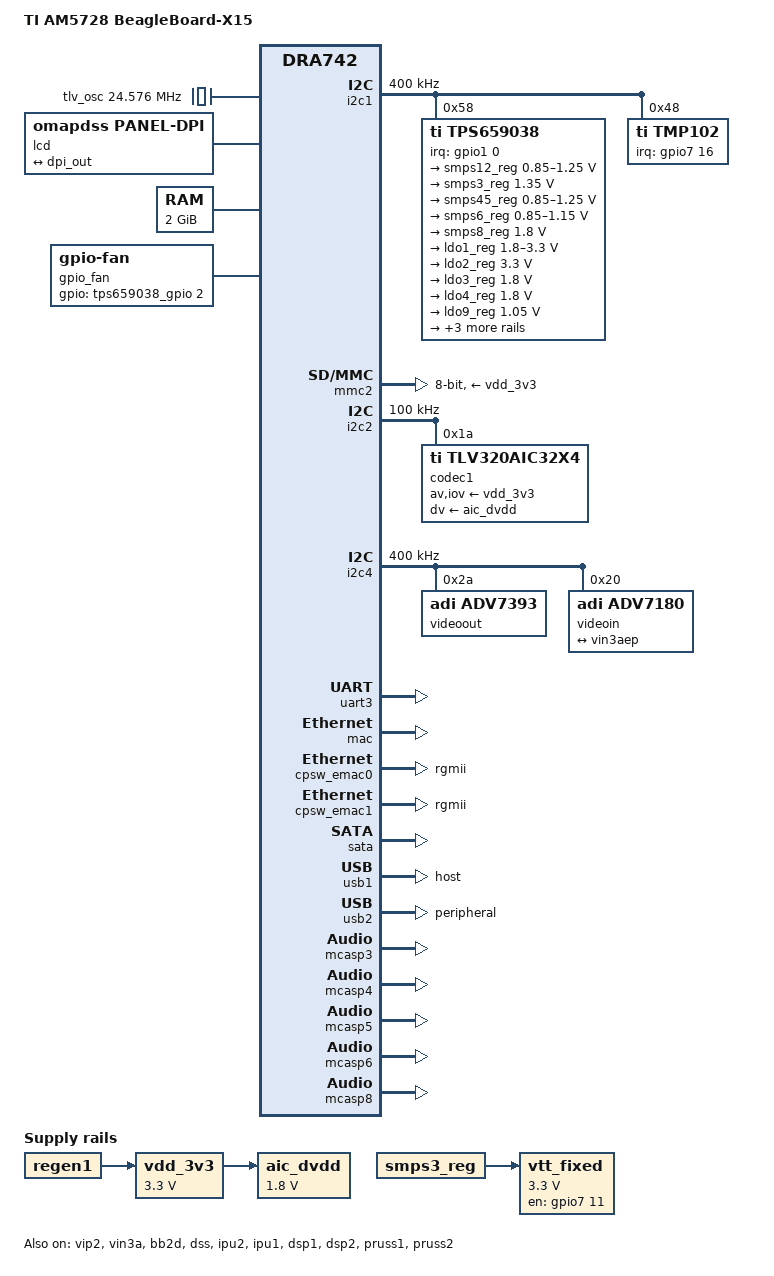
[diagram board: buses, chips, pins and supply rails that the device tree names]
/*
 * Copyright (C) 2014 Texas Instruments Incorporated - http://www.ti.com/
 *
 * This program is free software; you can redistribute it and/or modify
 * it under the terms of the GNU General Public License version 2 as
 * published by the Free Software Foundation.
 */
/dts-v1/;

#include "dra74x.dtsi"
#include <dt-bindings/gpio/gpio.h>
#include <dt-bindings/interrupt-controller/irq.h>

/ {
	model = "TI AM5728 BeagleBoard-X15";
	compatible = "ti,am572x-beagle-x15", "ti,am5728", "ti,dra742", "ti,dra74", "ti,dra7";

	aliases {
		rtc0 = &tps659038_rtc;
		rtc1 = &rtc;
		display0 = &lcd;
	};

	tlv_osc: tlv_osc {
		#clock-cells = <0>;
		compatible = "fixed-clock";
		clock-frequency = <24576000>;
	};

 	lcd: display {

                compatible = "omapdss,panel-dpi";

                label = "lcd";

                panel-timing {

                        clock-frequency = <27000000>; 
                        hactive = <720>;
                        vactive = <576>;
			
			/* When in BT mode and interlaced, this field corresponds */
			/* to the vertical field blanking No 1 for Even Field.	  */
                        hfront-porch = <4>;
			/* When in BT mode and interlaced, this field corresponds */
			/* to the vertical field blanking No 2 for Even Field.;   */
                        hback-porch = <20>;

                        hsync-len = <256>;

                        vfront-porch = <4>;
                        vback-porch = <21>;

                        vsync-len = <10>;

                        pixelclk-active = <0>;
			
			interlaced = "true";
                };

                 port {
                        lcd_in: endpoint {
                                remote-endpoint = <&dpi_out>;
                        };
                };

        };

	memory {
		device_type = "memory";
		reg = <0x0 0x80000000 0x0 0x80000000>;
	};

	reserved-memory {
		#address-cells = <2>;
		#size-cells = <2>;
		ranges;

		ipu2_cma_pool: ipu2_cma@95800000 {
			compatible = "shared-dma-pool";
			reg = <0x0 0x95800000 0x0 0x3800000>;
			reusable;
			status = "okay";
		};

		dsp1_cma_pool: dsp1_cma@99000000 {
			compatible = "shared-dma-pool";
			reg = <0x0 0x99000000 0x0 0x4000000>;
			reusable;
			status = "okay";
		};

		ipu1_cma_pool: ipu1_cma@9d000000 {
			compatible = "shared-dma-pool";
			reg = <0x0 0x9d000000 0x0 0x2000000>;
			reusable;
			status = "okay";
		};

		dsp2_cma_pool: dsp2_cma@9f000000 {
			compatible = "shared-dma-pool";
			reg = <0x0 0x9f000000 0x0 0x800000>;
			reusable;
			status = "okay";
		};
	};

	vdd_3v3: fixedregulator-vdd_3v3 {
		compatible = "regulator-fixed";
		regulator-name = "vdd_3v3";
		vin-supply = <&regen1>;
		regulator-min-microvolt = <3300000>;
		regulator-max-microvolt = <3300000>;
	};

	aic_dvdd: fixedregulator-aic_dvdd {
		compatible = "regulator-fixed";
		regulator-name = "aic_dvdd_fixed";
		vin-supply = <&vdd_3v3>;
		regulator-min-microvolt = <1800000>;
		regulator-max-microvolt = <1800000>;
	};

	vtt_fixed: fixedregulator-vtt {
		/* TPS51200 */
		compatible = "regulator-fixed";
		regulator-name = "vtt_fixed";
		vin-supply = <&smps3_reg>;
		regulator-min-microvolt = <3300000>;
		regulator-max-microvolt = <3300000>;
		regulator-always-on;
		regulator-boot-on;
		enable-active-high;
		gpio = <&gpio7 11 GPIO_ACTIVE_HIGH>;
	};

	gpio_fan: gpio_fan {
		/* Based on 5v 500mA AFB02505HHB */
		compatible = "gpio-fan";
		gpios =  <&tps659038_gpio 2 GPIO_ACTIVE_HIGH>;
		gpio-fan,speed-map = <0     0>,
				     <13000 1>;
		#cooling-cells = <2>;
	};

	/* Left microphone input */
	/*left_mic: sound@0 {
		compatible = "simple-audio-card";
		simple-audio-card,name = "BeagleBoard-X15";
		simple-audio-card,widgets =
			"Line", "Line In";
		simple-audio-card,routing =
			"IN1_L",	"Line In",
			"IN1_R",	"Line In";
		simple-audio-card,format = "i2s";
		simple-audio-card,bitclock-master = <&sound0_codec>;
		simple-audio-card,frame-master = <&sound0_codec>;

		sound0_cpu: simple-audio-card,cpu {
			sound-dai = <&mcasp4>;
			system-clock-direction = "out";
		};

		sound0_codec: simple-audio-card,codec {
			sound-dai = <&tlv320aic32x4>;
		};
	};*/

};

&i2c1 {
	status = "okay";
	clock-frequency = <400000>;

	tps659038: tps659038@58 {
		compatible = "ti,tps659038";
		reg = <0x58>;
		interrupt-parent = <&gpio1>;
		interrupts = <0 IRQ_TYPE_LEVEL_LOW>;

		#interrupt-cells = <2>;
		interrupt-controller;

		ti,system-power-controller;
		ti,palmas-override-powerhold;

		tps659038_pmic {
			compatible = "ti,tps659038-pmic";

			regulators {
				smps12_reg: smps12 {
					/* VDD_MPU */
					regulator-name = "smps12";
					regulator-min-microvolt = < 850000>;
					regulator-max-microvolt = <1250000>;
					regulator-always-on;
					regulator-boot-on;
				};

				smps3_reg: smps3 {
					/* VDD_DDR */
					regulator-name = "smps3";
					regulator-min-microvolt = <1350000>;
					regulator-max-microvolt = <1350000>;
					regulator-always-on;
					regulator-boot-on;
				};

				smps45_reg: smps45 {
					/* VDD_DSPEVE, VDD_IVA, VDD_GPU */
					regulator-name = "smps45";
					regulator-min-microvolt = < 850000>;
					regulator-max-microvolt = <1250000>;
					regulator-always-on;
					regulator-boot-on;
				};

				smps6_reg: smps6 {
					/* VDD_CORE */
					regulator-name = "smps6";
					regulator-min-microvolt = <850000>;
					regulator-max-microvolt = <1150000>;
					regulator-always-on;
					regulator-boot-on;
				};

				/* SMPS7 unused */

				smps8_reg: smps8 {
					/* VDD_1V8 */
					regulator-name = "smps8";
					regulator-min-microvolt = <1800000>;
					regulator-max-microvolt = <1800000>;
					regulator-always-on;
					regulator-boot-on;
				};

				/* SMPS9 unused */

				ldo1_reg: ldo1 {
					/* VDD_SD / VDDSHV8  */
					regulator-name = "ldo1";
					regulator-min-microvolt = <1800000>;
					regulator-max-microvolt = <3300000>;
					regulator-boot-on;
					regulator-always-on;
				};

				ldo2_reg: ldo2 {
					/* VDD_SHV5 */
					regulator-name = "ldo2";
					regulator-min-microvolt = <3300000>;
					regulator-max-microvolt = <3300000>;
					regulator-always-on;
					regulator-boot-on;
				};

				ldo3_reg: ldo3 {
					/* VDDA_1V8_PHYA */
					regulator-name = "ldo3";
					regulator-min-microvolt = <1800000>;
					regulator-max-microvolt = <1800000>;
					regulator-always-on;
					regulator-boot-on;
				};

				ldo4_reg: ldo4 {
					/* VDDA_1V8_PHYB */
					regulator-name = "ldo4";
					regulator-min-microvolt = <1800000>;
					regulator-max-microvolt = <1800000>;
					regulator-always-on;
					regulator-boot-on;
				};

				ldo9_reg: ldo9 {
					/* VDD_RTC */
					regulator-name = "ldo9";
					regulator-min-microvolt = <1050000>;
					regulator-max-microvolt = <1050000>;
					regulator-always-on;
					regulator-boot-on;
				};

				ldoln_reg: ldoln {
					/* VDDA_1V8_PLL */
					regulator-name = "ldoln";
					regulator-min-microvolt = <1800000>;
					regulator-max-microvolt = <1800000>;
					regulator-always-on;
					regulator-boot-on;
				};

				ldousb_reg: ldousb {
					/* VDDA_3V_USB: VDDA_USBHS33 */
					regulator-name = "ldousb";
					regulator-min-microvolt = <3300000>;
					regulator-max-microvolt = <3300000>;
					regulator-boot-on;
				};

				regen1: regen1 {
					/* VDD_3V3_ON */
					regulator-name = "regen1";
					regulator-boot-on;
					regulator-always-on;
				};
			};
		};

		tps659038_rtc: tps659038_rtc {
			compatible = "ti,palmas-rtc";
			interrupt-parent = <&tps659038>;
			interrupts = <8 IRQ_TYPE_EDGE_FALLING>;
			wakeup-source;
		};

		tps659038_pwr_button: tps659038_pwr_button {
			compatible = "ti,palmas-pwrbutton";
			interrupt-parent = <&tps659038>;
			interrupts = <1 IRQ_TYPE_EDGE_FALLING>;
			wakeup-source;
			ti,palmas-long-press-seconds = <12>;
		};

		tps659038_gpio: tps659038_gpio {
			compatible = "ti,palmas-gpio";
			gpio-controller;
			#gpio-cells = <2>;
		};

		extcon_usb2: tps659038_usb {
			compatible = "ti,palmas-usb-vid";
			ti,enable-vbus-detection;
			vbus-gpio = <&gpio4 21 GPIO_ACTIVE_HIGH>;
		};

	};

	tmp102: tmp102@48 {
		compatible = "ti,tmp102";
		reg = <0x48>;
		interrupt-parent = <&gpio7>;
		interrupts = <16 IRQ_TYPE_LEVEL_LOW>;
		#thermal-sensor-cells = <1>;
	};
};

&dra7_pmx_core {
    i2c4_pins_default: i2c4_pins_default {
		pinctrl-single,pins = <
            0x370 (PIN_INPUT_PULLUP | MUX_MODE4) /* mmc1_sdwp SCL*/
            0x36c (PIN_INPUT_PULLUP | MUX_MODE4) /* mmc1_sdcd SDA*/
            0x2ac (MUX_MODE15) /* B14*/
            0x2b0 (MUX_MODE15) /* J14*/
		>;
	};

	mmc2_pins_default: mmc2_pins_default {
		pinctrl-single,pins = <
			DRA7XX_CORE_IOPAD(0x349c, (PIN_INPUT_PULLUP | MUX_MODE1)) /* gpmc_a23.mmc2_clk */
			DRA7XX_CORE_IOPAD(0x34b0, (PIN_INPUT_PULLUP | MUX_MODE1)) /* gpmc_cs1.mmc2_cmd */
			DRA7XX_CORE_IOPAD(0x34a0, (PIN_INPUT_PULLUP | MUX_MODE1)) /* gpmc_a24.mmc2_dat0 */
			DRA7XX_CORE_IOPAD(0x34a4, (PIN_INPUT_PULLUP | MUX_MODE1)) /* gpmc_a25.mmc2_dat1 */
			DRA7XX_CORE_IOPAD(0x34a8, (PIN_INPUT_PULLUP | MUX_MODE1)) /* gpmc_a26.mmc2_dat2 */
			DRA7XX_CORE_IOPAD(0x34ac, (PIN_INPUT_PULLUP | MUX_MODE1)) /* gpmc_a27.mmc2_dat3 */
			DRA7XX_CORE_IOPAD(0x348c, (PIN_INPUT_PULLUP | MUX_MODE1)) /* gpmc_a19.mmc2_dat4 */
			DRA7XX_CORE_IOPAD(0x3490, (PIN_INPUT_PULLUP | MUX_MODE1)) /* gpmc_a20.mmc2_dat5 */
			DRA7XX_CORE_IOPAD(0x3494, (PIN_INPUT_PULLUP | MUX_MODE1)) /* gpmc_a21.mmc2_dat6 */
			DRA7XX_CORE_IOPAD(0x3498, (PIN_INPUT_PULLUP | MUX_MODE1)) /* gpmc_a22.mmc2_dat7 */
		>;
	};
};

&mmc2 {
	pinctrl-names = "default";
	pinctrl-0 = <&mmc2_pins_default>;
};

&i2c2 {
    	status = "okay";
	clock-frequency = <100000>;
	pinctrl-names = "default";
	pinctrl-0 = <&i2c2_pins_default>;

	/*codec0: tlv320aic32x4@18 {
		#sound-dai-cells = <0>;
		compatible = "ti,tlv320aic32x4";
		reg = <0x18>;
		//clocks = <&sys_clkin2>;
		clocks = <&tlv_osc>;
		clock-names = "mclk";		
		av-supply = <&vdd_3v3>;
		iov-supply = <&vdd_3v3>;
		dv-supply = <&aic_dvdd>;

		assigned-clocks = <&clkoutmux2_clk_mux>, <&timer7_gfclk_mux>, <&clkoutmux0_clk_mux>;
		assigned-clock-parents = <&sys_clk2_dclk_div>, <&clkoutmux0_clk_mux>, <&sys_clk1_dclk_div>;

		status = "okay";
	};*/

	codec1: tlv320aic32x4@1a {
		#sound-dai-cells = <0>;
		compatible = "ti,tlv320aic32x4";
		reg = <0x1a>;
		//clocks = <&sys_clkin2>;
		clocks = <&tlv_osc>;
		clock-names = "mclk";		
		av-supply = <&vdd_3v3>;
		iov-supply = <&vdd_3v3>;
		dv-supply = <&aic_dvdd>;

		assigned-clocks = <&clkoutmux2_clk_mux>, <&timer7_gfclk_mux>, <&clkoutmux0_clk_mux>;
		assigned-clock-parents = <&sys_clk2_dclk_div>, <&clkoutmux0_clk_mux>, <&sys_clk1_dclk_div>;

		status = "okay";
	};
};

&i2c4 {
    status = "okay";
    clock-frequency = <400000>;
    pinctrl-names = "default";
    pinctrl-0 = <&i2c4_pins_default>;


    videoout: adv7393@2a {
        compatible = "adi,adv7393";
        reg = <0x2a>;	
    };

    videoin: adv7180@20 {
        compatible = "adi,adv7180";
        reg = <0x20>;
	remote = <&vin3a>;
	
	port {
		video_input: endpoint {
			remote-endpoint = <&vin3aep>;
			pclk-sample = <0>;
			data-active = <0>;
			channels = <0>;
		};
	};

    };
};

/* Set vip remote endpoint in the vin3a to adv7180 output  */

&vip2 {

	pinctrl-names = "default"; 
	pinctrl-0 = <&vin3a_pins_default>;

	status = "okay";
};

&vin3a {
	status = "okay";

	hsync-active = <0>;
	vsync-active = <1>;
		vin3aep: endpoint {
			slave-mode;
			bus_width = <8>;
			hsync-active = <0>;
			vsync-active = <1>;
			remote-endpoint = <&video_input>;
		};
};

&gpio7 {
	ti,no-reset-on-init;
	ti,no-idle-on-init;
};

&uart3 {
	status = "okay";
	interrupts-extended = <&crossbar_mpu GIC_SPI 69 IRQ_TYPE_LEVEL_HIGH>,
			      <&dra7_pmx_core 0x3f8>;
};

&mac {
	status = "okay";
	dual_emac;
};

&cpsw_emac0 {
	phy_id = <&davinci_mdio>, <1>;
	phy-mode = "rgmii";
	dual_emac_res_vlan = <1>;
};

&cpsw_emac1 {
	phy_id = <&davinci_mdio>, <2>;
	phy-mode = "rgmii";
	dual_emac_res_vlan = <2>;
};

&mmc2 {
	status = "okay";

	vmmc-supply = <&vdd_3v3>;
	bus-width = <8>;
	ti,non-removable;
	cap-mmc-dual-data-rate;
};

&sata {
	status = "okay";
};

&usb2_phy1 {
	phy-supply = <&ldousb_reg>;
};

&usb2_phy2 {
	phy-supply = <&ldousb_reg>;
};

&usb1 {
	dr_mode = "host";
};

&omap_dwc3_2 {
	extcon = <&extcon_usb2>;
};

&usb2 {
	/*
	 * Stand alone usage is peripheral only.
	 * However, with some resistor modifications
	 * this port can be used via expansion connectors
	 * as "host" or "dual-role". If so, provide
	 * the necessary dr_mode override in the expansion
	 * board's DT.
	 */
	dr_mode = "peripheral";
};

&cpu_trips {
	cpu_alert1: cpu_alert1 {
		temperature = <50000>; /* millicelsius */
		hysteresis = <2000>; /* millicelsius */
		type = "active";
	};
};

&cpu_cooling_maps {
	map1 {
		trip = <&cpu_alert1>;
		cooling-device = <&gpio_fan THERMAL_NO_LIMIT THERMAL_NO_LIMIT>;
	};
};

&thermal_zones {
	board_thermal: board_thermal {
		polling-delay-passive = <1250>; /* milliseconds */
		polling-delay = <1500>; /* milliseconds */

				/* sensor       ID */
		thermal-sensors = <&tmp102     0>;

		board_trips: trips {
			board_alert0: board_alert {
				temperature = <40000>; /* millicelsius */
				hysteresis = <2000>; /* millicelsius */
				type = "active";
			};

			board_crit: board_crit {
				temperature = <105000>; /* millicelsius */
				hysteresis = <0>; /* millicelsius */
				type = "critical";
			};
		};

		board_cooling_maps: cooling-maps {
			map0 {
				trip = <&board_alert0>;
				cooling-device =
				  <&gpio_fan THERMAL_NO_LIMIT THERMAL_NO_LIMIT>;
			};
		};
       };
};

&oppdm_mpu {
	vdd-supply = <&smps12_reg>;
};

&oppdm_dspeve {
	vdd-supply = <&smps45_reg>;
};

&oppdm_gpu {
	vdd-supply = <&smps45_reg>;
};

&oppdm_ivahd {
	vdd-supply = <&smps45_reg>;
};

&oppdm_core {
	vdd-supply = <&smps6_reg>;
};

&bb2d {
	status = "okay";
};

&mcasp3 {
	#sound-dai-cells = <0>;
	assigned-clocks = <&mcasp3_ahclkx_mux>;
	assigned-clock-parents = <&sys_clkin2>;
	status = "okay";

	op-mode = <0>;	/* MCASP_IIS_MODE */
	tdm-slots = <2>;
	/* 4 serializers */
	serial-dir = <	/* 0: INACTIVE, 1: TX, 2: RX */
		1 2 0 0
	>;
	tx-num-evt = <32>;
	rx-num-evt = <32>;
};

/* Set DSS  */
&dss {
	status = "okay";

	pinctrl-names = "default"; 
	pinctrl-0 = <&vout1_pins_default>; 

	vdda_video-supply = <&ldoln_reg>;


	port {
		dpi_out: endpoint {
			remote-endpoint = <&lcd_in>;
			data-lines = <24>;
		};
	};
};

/* McASP nodes  */
&mcasp4 {
	#sound-dai-cells = <0>;
	assigned-clocks = <&mcasp4_ahclkx_mux>;
	assigned-clock-parents = <&sys_clkin2>;
	pinctrl-names = "default"; 
	pinctrl-0 = <&mcasp4_pins_default>; 
	status = "okay";

	op-mode = <0>;	/* MCASP_IIS_MODE */
	tdm-slots = <2>;
	/* 4 serializers */
	serial-dir = <	/* 0: INACTIVE, 1: TX, 2: RX */
		2 0 0 0
	>;
	/*tx-num-evt = <32>;*/
	rx-num-evt = <32>;
};

&mcasp5 {
	#sound-dai-cells = <0>;
	assigned-clocks = <&mcasp5_ahclkx_mux>;
	assigned-clock-parents = <&sys_clkin2>;
	pinctrl-names = "default"; 
	pinctrl-0 = <&mcasp5_pins_default>; 
	status = "okay";

	op-mode = <0>;	/* MCASP_IIS_MODE */
	tdm-slots = <2>;
	/* 4 serializers */
	serial-dir = <	/* 0: INACTIVE, 1: TX, 2: RX */
		0 2 0 0
	>;
	tx-num-evt = <32>;
	rx-num-evt = <32>;
};

&mcasp6 {
	#sound-dai-cells = <0>;
	assigned-clocks = <&mcasp6_ahclkx_mux>;
	assigned-clock-parents = <&sys_clkin2>;
	pinctrl-names = "default"; 
	pinctrl-0 = <&mcasp6_pins_default>; 
	status = "okay";

	op-mode = <0>;	/* MCASP_IIS_MODE */
	tdm-slots = <2>;
	/* 4 serializers */
	serial-dir = <	/* 0: INACTIVE, 1: TX, 2: RX */
		0 1 0 0
	>;
	tx-num-evt = <32>;
	rx-num-evt = <32>;
};

&mcasp8 {
	#sound-dai-cells = <0>;
	assigned-clocks = <&mcasp8_ahclkx_mux>;
	assigned-clock-parents = <&sys_clkin2>;
	pinctrl-names = "default"; 
	pinctrl-0 = <&mcasp8_pins_default>; 
	status = "okay";

	op-mode = <0>;	/* MCASP_IIS_MODE */
	tdm-slots = <2>;
	/* 4 serializers */
	serial-dir = <	/* 0: INACTIVE, 1: TX, 2: RX */
		2 0 0 0
	>;
	tx-num-evt = <32>;
	rx-num-evt = <32>;
};


&mailbox3 {
	status = "okay";
	mbox_pru1_0: mbox_pru1_0 {
		status = "okay";
	};
	mbox_pru1_1: mbox_pru1_1 {
		status = "okay";
	};
};

&mailbox4 {
	status = "okay";
	mbox_pru2_0: mbox_pru2_0 {
		status = "okay";
	};
	mbox_pru2_1: mbox_pru2_1 {
		status = "okay";
	};
};

&mailbox5 {
	status = "okay";
	mbox_ipu1_ipc3x: mbox_ipu1_ipc3x {
		status = "okay";
	};
	mbox_dsp1_ipc3x: mbox_dsp1_ipc3x {
		status = "okay";
	};
};

&mailbox6 {
	status = "okay";
	mbox_ipu2_ipc3x: mbox_ipu2_ipc3x {
		status = "okay";
	};
	mbox_dsp2_ipc3x: mbox_dsp2_ipc3x {
		status = "okay";
	};
};

&mmu0_dsp1 {
	status = "okay";
};

&mmu1_dsp1 {
	status = "okay";
};

&mmu0_dsp2 {
	status = "okay";
};

&mmu1_dsp2 {
	status = "okay";
};

&mmu_ipu1 {
	status = "okay";
};

&mmu_ipu2 {
	status = "okay";
};

&ipu2 {
	status = "okay";
	memory-region = <&ipu2_cma_pool>;
	mboxes = <&mailbox6 &mbox_ipu2_ipc3x>;
	timers = <&timer3>;
	watchdog-timers = <&timer4>, <&timer9>;
};

&ipu1 {
	status = "okay";
	memory-region = <&ipu1_cma_pool>;
	mboxes = <&mailbox5 &mbox_ipu1_ipc3x>;
	timers = <&timer11>;
};

&dsp1 {
	status = "okay";
	memory-region = <&dsp1_cma_pool>;
	mboxes = <&mailbox5 &mbox_dsp1_ipc3x>;
	timers = <&timer5>;
};

&dsp2 {
	status = "okay";
	memory-region = <&dsp2_cma_pool>;
	mboxes = <&mailbox6 &mbox_dsp2_ipc3x>;
	timers = <&timer6>;
};

&pruss1 {
	status = "okay";
	pru1_0: pru0@4b234000 {
		interrupt-parent = <&pruss1_intc>;
		interrupts = <16>, <17>;
		interrupt-names = "vring", "kick";
		status = "okay";
	};

	pru1_1: pru1@4b238000 {
		interrupt-parent = <&pruss1_intc>;
		interrupts = <18>, <19>;
		interrupt-names = "vring", "kick";
		status = "okay";
	};
};

&pruss2 {
	status = "okay";
	pru2_0: pru0@4b2b4000 {
		interrupt-parent = <&pruss2_intc>;
		interrupts = <16>, <17>;
		interrupt-names = "vring", "kick";
		status = "okay";
	};

	pru2_1: pru1@4b2b8000 {
		interrupt-parent = <&pruss2_intc>;
		interrupts = <18>, <19>;
		interrupt-names = "vring", "kick";
		status = "okay";
	};
};

